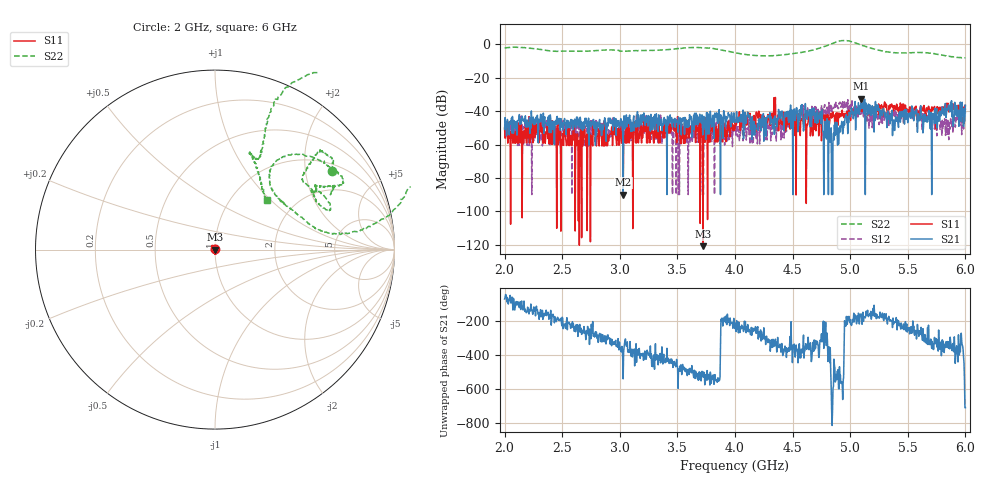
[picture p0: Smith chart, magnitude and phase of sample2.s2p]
!Output generated by mRS VNA Controller.
!Dual Port Reading
# Hz S dB R 50
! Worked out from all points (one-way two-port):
!   1000 points, 2 GHz to 6 GHz, reference 50 ohm
!   highest |S21| = -32.52 dB at 5.095 GHz (marker M1); lowest = -90.0 dB at 3.029 GHz (marker M2)
!   lowest |S11| = -120.9 dB at 3.722 GHz (marker M3), VSWR 1.00, Z = 50 - j3.4e-05 ohm
!   |S11| at or under -10 dB: start of sweep to end of sweep
!   |S22| runs from -8.0 to 2.4 dB; largest |S21 - S12| = 0.025
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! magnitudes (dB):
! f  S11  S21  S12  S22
! 2 GHz  -50.2  -50.9  -52.8  -2.1
! 2.072 GHz  -59.2  -47.5  -57.6  -1.7
! 2.589 GHz  -54.6  -45.3  -45.9  -4.1
! 2.633 GHz  -53.7  -43.8  -52.5  -4.1
! 2.669 GHz  -115.8  -46.6  -54.4  -4.1
! 2.937 GHz  -60.6  -48.4  -44.2  -3.3
! 3.029 GHz  -90.0  -90.0  -48.6  -4.0
! 3.337 GHz  -59.1  -42.2  -49.7  -3.4
! 3.506 GHz  -52.2  -52.6  -58.9  -2.6
! 3.694 GHz  -46.4  -41.8  -47.5  -1.9
! 3.722 GHz  -120.9  -54.2  -52.6  -1.9
! 4.002 GHz  -46.1  -46.8  -49.0  -5.0
! 4.33 GHz  -44.0  -50.4  -51.0  -6.7
! 4.671 GHz  -51.9  -38.3  -41.3  -3.5
! 4.735 GHz  -42.8  -41.8  -48.6  -2.2
! 4.831 GHz  -42.8  -55.7  -36.5  0.2
! 4.875 GHz  -49.4  -49.7  -34.7  1.3
! 5.095 GHz  -40.1  -32.5  -41.3  -0.3
! 5.335 GHz  -36.8  -43.3  -49.1  -4.6
! 5.712 GHz  -37.6  -42.6  -43.6  -5.5
! 5.848 GHz  -35.2  -38.4  -44.9  -7.0
! 6 GHz  -38.7  -36.4  -41.3  -8.0
